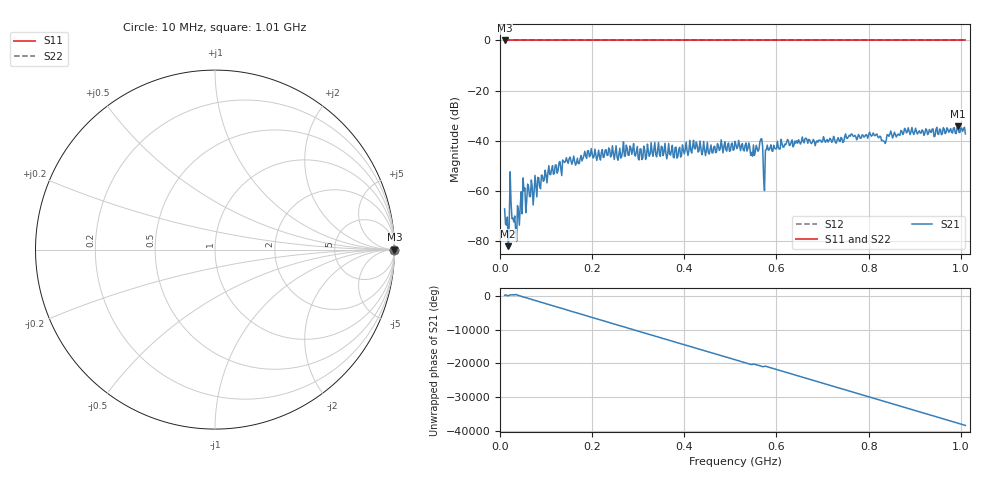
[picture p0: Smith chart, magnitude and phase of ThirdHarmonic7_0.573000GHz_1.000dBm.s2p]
! 8/17/2025 5:41:52 PM
! C:\ANRITSUVNA\TEMP\TEMP.S2P
! CHANNEL.1
! TR.MEASUREMENT
! RAW.DATA
! RF.CORRECTION.OFF
! AVERAGING.OFF
! IF.BANDWIDTH: 5KHZ
! SWEEPTYPE:  FREQ.SWEEP(Linear)
! Reference Plane Port Info
! PORT:  PORT1  PORT2
! DISTANCE:  0  m  0  m
! TIME:  0  s  0  s
! PHASE.OFFSET:  0  deg.  0  deg.
! LOSS:  0  dB  0  dB
! REF.LOSS:  0  dB  0  dB
! REF.FREQ:  0  Hz  0  Hz
! Power Info
! POWER:  -20  dBm  -20  dBm
! EFF.POWER:  -20  dBm  -20  dBm
! SOURCE.ATTEN:  0  dB  0  dB
! TEST.ATTEN:  0  dB  0  dB
# GHZ S RI R 50.0
! FREQ.GHZ  S11RE  S11IM  S21RE  S21IM  S12RE  S12IM  S22RE  S22IM
!; PortSelection: Port_12
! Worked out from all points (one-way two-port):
!   501 points, 10 MHz to 1.01 GHz, reference 50 ohm
!   highest |S21| = -34.23 dB at 994 MHz (marker M1); lowest = -82.2 dB at 18 MHz (marker M2)
!   lowest |S11| = 0.0 dB at 10 MHz (marker M3)
!   |S11| at or under -10 dB: nowhere
!   |S22| runs from 0.0 to 0.0 dB; largest |S21 - S12| = 1
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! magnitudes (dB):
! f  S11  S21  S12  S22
! 10 MHz  0.0  -67.3  0.0  0.0
! 16 MHz  0.0  -70.6  0.0  0.0
! 18 MHz  0.0  -82.2  0.0  0.0
! 26 MHz  0.0  -71.2  0.0  0.0
! 32 MHz  0.0  -70.1  0.0  0.0
! 38 MHz  0.0  -66.0  0.0  0.0
! 50 MHz  0.0  -54.9  0.0  0.0
! 76 MHz  0.0  -53.9  0.0  0.0
! 140 MHz  0.0  -48.7  0.0  0.0
! 178 MHz  0.0  -48.2  0.0  0.0
! 344 MHz  0.0  -40.8  0.0  0.0
! 510 MHz  0.0  -40.3  0.0  0.0
! 548 MHz  0.0  -46.2  0.0  0.0
! 566 MHz  0.0  -39.4  0.0  0.0
! 574 MHz  0.0  -60.0  0.0  0.0
! 584 MHz  0.0  -43.8  0.0  0.0
! 678 MHz  0.0  -40.7  0.0  0.0
! 806 MHz  0.0  -38.3  0.0  0.0
! 834 MHz  0.0  -40.4  0.0  0.0
! 844 MHz  0.0  -38.3  0.0  0.0
! 994 MHz  0.0  -34.2  0.0  0.0
! 1.01 GHz  0.0  -37.3  0.0  0.0
